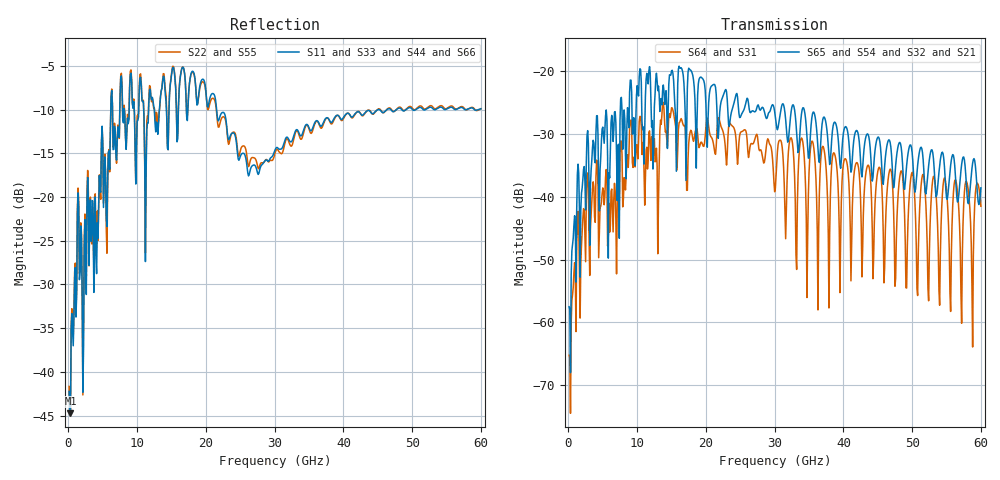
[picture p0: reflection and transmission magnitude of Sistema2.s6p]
! Created by VPF Tool @ TET-TUHH - by terd - on 20-Jul-2016
# GHZ S RI R 50.00
! Data
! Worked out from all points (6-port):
!   600 points, 100 MHz to 60 GHz, reference 50 ohm
!   strongest paths, dB at 100 MHz, 15.1 GHz, 30.1 GHz, 45.1 GHz, 60 GHz:
!     S65: -57.5, -19.9, -27.3, -30.5, -38.6
!     S54: -57.5, -19.9, -27.3, -30.5, -38.6
!     S32: -57.5, -19.9, -27.3, -30.5, -38.6
!     S21: -57.5, -19.9, -27.3, -30.5, -38.6
!     S64: -65.2, -25.9, -38.7, -35.5, -41.5
!     S31: -65.2, -25.9, -38.7, -35.5, -41.5
!   lowest |S11| = -44.7 dB at 300 MHz (marker M1), VSWR 1.01, Z = 50.1 - j0.57 ohm
!   |S11| at or under -10 dB: start of sweep to 6.163 GHz; 21.55 GHz to 45.08 GHz (23.53 GHz wide, 70.6 % of centre); 45.21 GHz to 46.35 GHz (1.144 GHz wide, 2.5 % of centre)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
